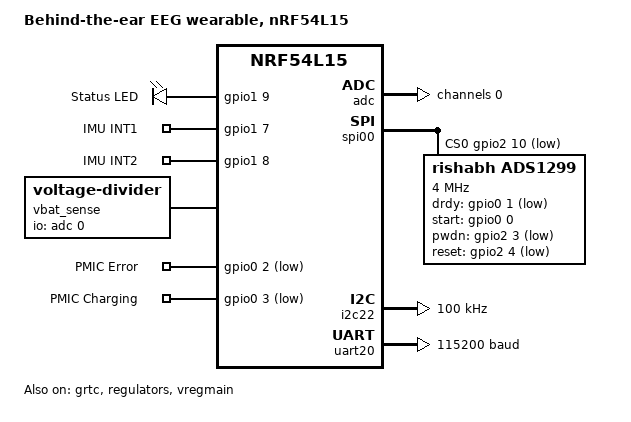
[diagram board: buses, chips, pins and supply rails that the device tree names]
/dts-v1/;
#include <nordic/nrf54l15_cpuapp.dtsi>
#include <dt-bindings/regulator/nrf5x.h>
#include <dt-bindings/adc/nrf-saadc.h>
#include "eeg_wearable-pinctrl.dtsi"

/ {
    model = "Behind-the-ear EEG wearable, nRF54L15";
    compatible = "rishabh,eeg-wearable-cpuapp";

    chosen {
        zephyr,code-partition = &slot0_partition;
        zephyr,sram = &cpuapp_sram;
        zephyr,flash = &cpuapp_rram;
        zephyr,flash-controller = &rram_controller;
        zephyr,uart-mcumgr = &uart20;
    };

    leds {
        compatible = "gpio-leds";
        led0: led_0 {
            gpios = <&gpio1 9 GPIO_ACTIVE_HIGH>;
            label = "Status LED";
        };
    };

    /* IMU interrupt lines */
    imu_interrupts: imu-interrupts {
        compatible = "gpio-keys";
        imu_int1: imu-int1 {
            gpios = <&gpio1 7 (GPIO_PULL_DOWN | GPIO_ACTIVE_HIGH)>;
            label = "IMU INT1";
        };
        imu_int2: imu-int2 {
            gpios = <&gpio1 8 (GPIO_PULL_DOWN | GPIO_ACTIVE_HIGH)>;
            label = "IMU INT2";
        };
    };

    /* VBAT resistor divider — R_top=2MΩ, R_bot=1MΩ (lower leg to GND).
     * compatible = "voltage-divider" gives the DT compiler a binding that
     * declares io-channels as phandle-array, which ADC_DT_SPEC_GET requires.
     * The voltage-divider driver is NOT compiled (CONFIG_VOLTAGE_DIVIDER not set);
     * the node is accessed directly via DT_NODELABEL in vbat.c. */
    vbat_sense: vbat-sense {
        compatible = "voltage-divider";
        io-channels = <&adc 0>;
        output-ohms = <1000000>;   /* R_bot = 1 MΩ (lower leg, measured node) */
        full-ohms   = <3000000>;   /* R_top + R_bot = 3 MΩ (full path) */
    };

    /* PMIC status signals */
    pmic_signals: pmic-signals {
        compatible = "gpio-keys";
        pmic_err: pmic-err {
            gpios = <&gpio0 2 (GPIO_PULL_UP | GPIO_ACTIVE_LOW)>;
            label = "PMIC Error";
        };
        pmic_chg: pmic-chg {
            gpios = <&gpio0 3 (GPIO_PULL_UP | GPIO_ACTIVE_LOW)>;
            label = "PMIC Charging";
        };
    };

    aliases {
        led0     = &led0;
        imu-int1 = &imu_int1;
        imu-int2 = &imu_int2;
        pmic-err = &pmic_err;
        pmic-chg = &pmic_chg;
    };
};

&grtc {
    owned-channels = <0 1 2 3 4 5 6 7 8 9 10 11>;
    /* Channels 7-11 reserved for Zero Latency IRQs, 3-4 for FLPR */
    child-owned-channels = <3 4 7 8 9 10 11>;
    status = "okay";
};

&clock {
    status = "okay";
};

&lfxo {
    load-capacitors = "internal";
    load-capacitance-femtofarad = <17000>;
};

&hfxo {
    load-capacitors = "internal";
    load-capacitance-femtofarad = <15750>;
};

&regulators {
    status = "okay";
};

&vregmain {
    status = "okay";
    regulator-initial-mode = <NRF5X_REG_MODE_DCDC>;
};

&adc {
    /* Used for VBAT sense on P1.13 */
    status = "okay";
    #address-cells = <1>;
    #size-cells = <0>;

    /* P1.13 = AIN6 on nRF54L15 (AIN0-7 map to P1.04/05/06/07/11/12/13/14).
     * Gain 1/4, internal ref 0.6 V → full-scale 2.4 V.
     * V_adc_max = 4.2 V_bat / 3 (divider) = 1.4 V → well within range.
     * 8× oversampling reduces noise on the resistor divider mid-node. */
    vbat_ch: channel@0 {
        reg = <0>;
        zephyr,gain = "ADC_GAIN_1_4";
        zephyr,reference = "ADC_REF_INTERNAL";
        zephyr,acquisition-time = <ADC_ACQ_TIME_DEFAULT>;
        zephyr,input-positive = <NRF_SAADC_AIN6>;
        zephyr,resolution = <12>;
        zephyr,oversampling = <8>;
    };
};

&cpuapp_sram {
    status = "okay";
};

/* --- GPIO banks --- */

&gpio0 {
    /* P0.00 ADS1299 START, P0.01 ADS1299 DRDY,
       P0.02 PMIC_ERR,      P0.03 PMIC_CHG      */
    status = "okay";
};

&gpio1 {
    /* P1.02 IMU SDA,  P1.03 IMU SCL,
       P1.05 UART TX,  P1.06 UART RX,
       P1.07 IMU INT1, P1.08 IMU INT2,
       P1.09 LED,      P1.13 VBAT sense (ADC)   */
    status = "okay";
};

&gpio2 {
    /* P2.03 ADS1299 PWDN,  P2.04 ADS1299 RESET,
       P2.06 SPI SCK,       P2.08 SPI MOSI,
       P2.09 SPI MISO,      P2.10 ADS1299 CS     */
    status = "okay";
};

/* --- GPIOTE --- */

&gpiote20 {
    /* handles gpio1 and gpio2 interrupts */
    status = "okay";
};

&gpiote30 {
    /* handles gpio0 interrupts (DRDY, PMIC signals) */
    status = "okay";
};

/* --- ADS1299 via spi00 (fast domain) --- */

&spi00 {
    status = "okay";
    cs-gpios = <&gpio2 10 GPIO_ACTIVE_LOW>;
    pinctrl-0 = <&spi00_default>;
    pinctrl-1 = <&spi00_sleep>;
    pinctrl-names = "default", "sleep";

    ads1299: ads1299@0 {
        compatible = "rishabh,ads1299";
        reg = <0>;
        spi-max-frequency = <4000000>;
        drdy-gpios  = <&gpio0 1 GPIO_ACTIVE_LOW>;
        start-gpios = <&gpio0 0 GPIO_ACTIVE_HIGH>;
        pwdn-gpios  = <&gpio2 3 GPIO_ACTIVE_LOW>;
        reset-gpios = <&gpio2 4 GPIO_ACTIVE_LOW>;
    };
};

/* --- IMU via i2c22 --- */

&i2c22 {
    status = "okay";
    pinctrl-0 = <&i2c22_default>;
    pinctrl-1 = <&i2c22_sleep>;
    pinctrl-names = "default", "sleep";
    clock-frequency = <I2C_BITRATE_STANDARD>;  /* 100 kHz — reduced for diagnostics */

    /* LIS2DW12 accelerometer + temperature sensor.
     * I2C address 0x18 (ADDR/SA0 pin pulled low per schematic).
     * If the chip responds at 0x19 instead, change reg below and LIS2DW12_ADDR in imu.c.
     *
     * status = "disabled" suppresses the Zephyr ST sensor driver probe at boot.
     * imu.c talks to the chip directly via raw I2C (i2c22 controller), which
     * eliminates driver init assumptions and makes WHO_AM_I failures explicit. */
    lis2dw12: lis2dw12@18 {
        compatible = "st,lis2dw12";
        reg = <0x18>;
        odr = <50>;
        range = <2>;
        power-mode = <0>;
        status = "disabled";
    };
};

/* --- Debug UART via uart20 --- */

&uart20 {
    status = "okay";
    pinctrl-0 = <&uart20_default>;
    pinctrl-1 = <&uart20_sleep>;
    pinctrl-names = "default", "sleep";
    current-speed = <115200>;
};

#include <nordic/nrf54l15_partition.dtsi>
